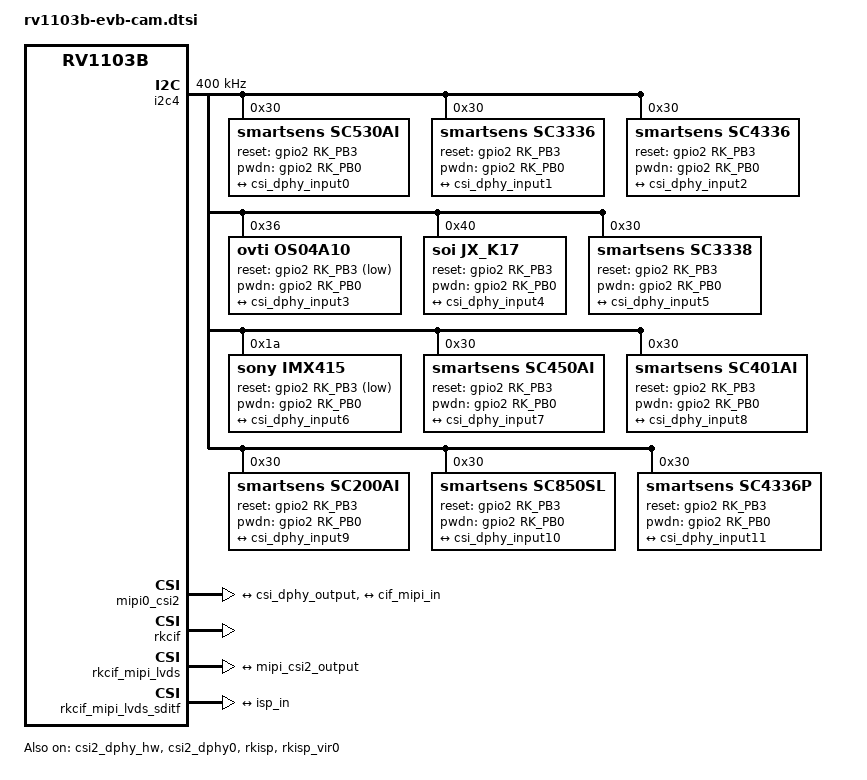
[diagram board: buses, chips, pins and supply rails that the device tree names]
// SPDX-License-Identifier: (GPL-2.0+ OR MIT)
/*
 * Copyright (c) 2026 Rockchip Electronics Co., Ltd.
 *
 */

&csi2_dphy_hw {
	status = "okay";
};

&csi2_dphy0 {
	status = "okay";

	ports {
		#address-cells = <1>;
		#size-cells = <0>;

		port@0 {
			reg = <0>;
			#address-cells = <1>;
			#size-cells = <0>;

			csi_dphy_input0: endpoint@0 {
				reg = <0>;
				remote-endpoint = <&sc530ai_out>;
				data-lanes = <1 2>;
			};
			csi_dphy_input1: endpoint@1 {
				reg = <1>;
				remote-endpoint = <&sc3336_out>;
				data-lanes = <1 2>;
			};
			csi_dphy_input2: endpoint@2 {
				reg = <2>;
				remote-endpoint = <&sc4336_out>;
				data-lanes = <1 2>;
			};
			csi_dphy_input3: endpoint@3 {
				reg = <3>;
				remote-endpoint = <&os04a10_out>;
				data-lanes = <1 2>;
			};
			csi_dphy_input4: endpoint@4 {
				reg = <4>;
				remote-endpoint = <&jx_k17_out>;
				data-lanes = <1 2>;
			};
			csi_dphy_input5: endpoint@5 {
				reg = <5>;
				remote-endpoint = <&sc3338_out>;
				data-lanes = <1 2>;
			};
			csi_dphy_input6: endpoint@6 {
				reg = <6>;
				remote-endpoint = <&imx415_out>;
				data-lanes = <1 2>;
			};
			csi_dphy_input7: endpoint@7 {
				reg = <7>;
				remote-endpoint = <&sc450ai_out>;
				data-lanes = <1 2 3 4>;
			};
			csi_dphy_input8: endpoint@8 {
				reg = <8>;
				remote-endpoint = <&sc401ai_out>;
				data-lanes = <1 2>;
			};
			csi_dphy_input9: endpoint@9 {
				reg = <9>;
				remote-endpoint = <&sc200ai_out>;
				data-lanes = <1 2>;
			};
			csi_dphy_input10: endpoint@a {
				reg = <0xa>;
				remote-endpoint = <&sc850sl_out>;
				data-lanes = <1 2 3 4>;
			};
			csi_dphy_input11: endpoint@b {
				reg = <0xb>;
				remote-endpoint = <&sc4336p_out>;
				data-lanes = <1 2>;
			};
		};

		port@1 {
			reg = <1>;
			#address-cells = <1>;
			#size-cells = <0>;

			csi_dphy_output: endpoint@0 {
				reg = <0>;
				remote-endpoint = <&mipi_csi2_input>;
			};
		};
	};
};

&i2c4 {
	status = "okay";
	clock-frequency = <400000>;
	pinctrl-names = "default";
	pinctrl-0 = <&i2c4m1_xfer_pins>;

	sc530ai: sc530ai@30 {
		compatible = "smartsens,sc530ai";
		status = "okay";
		reg = <0x30>;
		clocks = <&cru CLK_MIPI0_OUT2IO>;
		clock-names = "xvclk";
		reset-gpios = <&gpio2 RK_PB3 GPIO_ACTIVE_HIGH>;
		pwdn-gpios = <&gpio2 RK_PB0 GPIO_ACTIVE_HIGH>;
		pinctrl-names = "default";
		pinctrl-0 = <&cam_clk0_pins>;
		rockchip,camera-module-index = <0>;
		rockchip,camera-module-facing = "back";
		rockchip,camera-module-name = "default";
		rockchip,camera-module-lens-name = "default";
		port {
			sc530ai_out: endpoint {
				remote-endpoint = <&csi_dphy_input0>;
				data-lanes = <1 2>;
			};
		};
	};

	sc3336: sc3336@30 {
		compatible = "smartsens,sc3336";
		status = "okay";
		reg = <0x30>;
		clocks = <&cru CLK_MIPI0_OUT2IO>;
		clock-names = "xvclk";
		reset-gpios = <&gpio2 RK_PB3 GPIO_ACTIVE_HIGH>;
		pwdn-gpios = <&gpio2 RK_PB0 GPIO_ACTIVE_HIGH>;
		pinctrl-names = "default";
		pinctrl-0 = <&cam_clk0_pins>;
		rockchip,camera-module-index = <0>;
		rockchip,camera-module-facing = "back";
		rockchip,camera-module-name = "default";
		rockchip,camera-module-lens-name = "default";
		port {
			sc3336_out: endpoint {
				remote-endpoint = <&csi_dphy_input1>;
				data-lanes = <1 2>;
			};
		};
	};

	sc4336: sc4336@30 {
		compatible = "smartsens,sc4336";
		status = "okay";
		reg = <0x30>;
		clocks = <&cru CLK_MIPI0_OUT2IO>;
		clock-names = "xvclk";
		reset-gpios = <&gpio2 RK_PB3 GPIO_ACTIVE_HIGH>;
		pwdn-gpios = <&gpio2 RK_PB0 GPIO_ACTIVE_HIGH>;
		pinctrl-names = "default";
		pinctrl-0 = <&cam_clk0_pins>;
		rockchip,camera-module-index = <0>;
		rockchip,camera-module-facing = "back";
		rockchip,camera-module-name = "default";
		rockchip,camera-module-lens-name = "default";
		port {
			sc4336_out: endpoint {
				remote-endpoint = <&csi_dphy_input2>;
				data-lanes = <1 2>;
			};
		};
	};

	os04a10: os04a10@36 {
		compatible = "ovti,os04a10";
		status = "okay";
		reg = <0x36>;
		clocks = <&cru CLK_MIPI0_OUT2IO>;
		clock-names = "xvclk";
		reset-gpios = <&gpio2 RK_PB3 GPIO_ACTIVE_LOW>;
		pwdn-gpios = <&gpio2 RK_PB0 GPIO_ACTIVE_HIGH>;
		pinctrl-names = "default";
		pinctrl-0 = <&cam_clk0_pins>;
		rockchip,camera-module-index = <0>;
		rockchip,camera-module-facing = "back";
		rockchip,camera-module-name = "default";
		rockchip,camera-module-lens-name = "default";
		port {
			os04a10_out: endpoint {
				remote-endpoint = <&csi_dphy_input3>;
				data-lanes = <1 2>;
			};
		};
	};

	jx_k17: jx_k17@40 {
		compatible = "soi,jx_k17";
		status = "okay";
		reg = <0x40>;
		clocks = <&cru CLK_MIPI0_OUT2IO>;
		clock-names = "xvclk";
		reset-gpios = <&gpio2 RK_PB3 GPIO_ACTIVE_HIGH>;
		pwdn-gpios = <&gpio2 RK_PB0 GPIO_ACTIVE_HIGH>;
		pinctrl-names = "default";
		pinctrl-0 = <&cam_clk0_pins>;
		rockchip,camera-module-index = <0>;
		rockchip,camera-module-facing = "back";
		rockchip,camera-module-name = "default";
		rockchip,camera-module-lens-name = "default";
		port {
			jx_k17_out: endpoint {
				remote-endpoint = <&csi_dphy_input4>;
				data-lanes = <1 2>;
			};
		};
	};

	sc3338: sc3338@30 {
		compatible = "smartsens,sc3338";
		status = "okay";
		reg = <0x30>;
		clocks = <&cru CLK_MIPI0_OUT2IO>;
		clock-names = "xvclk";
		reset-gpios = <&gpio2 RK_PB3 GPIO_ACTIVE_HIGH>;
		pwdn-gpios = <&gpio2 RK_PB0 GPIO_ACTIVE_HIGH>;
		pinctrl-names = "default";
		pinctrl-0 = <&cam_clk0_pins>;
		rockchip,camera-module-index = <0>;
		rockchip,camera-module-facing = "back";
		rockchip,camera-module-name = "default";
		rockchip,camera-module-lens-name = "default";
		port {
			sc3338_out: endpoint {
				remote-endpoint = <&csi_dphy_input5>;
				data-lanes = <1 2>;
			};
		};
	};

	imx415: imx415@1a {
		compatible = "sony,imx415";
		status = "okay";
		reg = <0x1a>;
		clocks = <&cru CLK_MIPI0_OUT2IO>;
		clock-names = "xvclk";
		reset-gpios = <&gpio2 RK_PB3 GPIO_ACTIVE_LOW>;
		pwdn-gpios = <&gpio2 RK_PB0 GPIO_ACTIVE_HIGH>;
		pinctrl-names = "default";
		pinctrl-0 = <&cam_clk0_pins>;
		rockchip,camera-module-index = <0>;
		rockchip,camera-module-facing = "back";
		rockchip,camera-module-name = "default";
		rockchip,camera-module-lens-name = "default";
		port {
			imx415_out: endpoint {
				remote-endpoint = <&csi_dphy_input6>;
				data-lanes = <1 2>;
			};
		};
	};

	sc450ai: sc450ai@30 {
		compatible = "smartsens,sc450ai";
		status = "okay";
		reg = <0x30>;
		clocks = <&cru CLK_MIPI0_OUT2IO>;
		clock-names = "xvclk";
		reset-gpios = <&gpio2 RK_PB3 GPIO_ACTIVE_HIGH>;
		pwdn-gpios = <&gpio2 RK_PB0 GPIO_ACTIVE_HIGH>;
		pinctrl-names = "default";
		pinctrl-0 = <&cam_clk0_pins>;
		rockchip,camera-module-index = <0>;
		rockchip,camera-module-facing = "back";
		rockchip,camera-module-name = "default";
		rockchip,camera-module-lens-name = "default";
		port {
			sc450ai_out: endpoint {
				remote-endpoint = <&csi_dphy_input7>;
				data-lanes = <1 2 3 4>;
			};
		};
	};

	sc401ai: sc401ai@30 {
		compatible = "smartsens,sc401ai";
		status = "okay";
		reg = <0x30>;
		clocks = <&cru CLK_MIPI0_OUT2IO>;
		clock-names = "xvclk";
		reset-gpios = <&gpio2 RK_PB3 GPIO_ACTIVE_HIGH>;
		pwdn-gpios = <&gpio2 RK_PB0 GPIO_ACTIVE_HIGH>;
		pinctrl-names = "default";
		pinctrl-0 = <&cam_clk0_pins>;
		rockchip,camera-module-index = <0>;
		rockchip,camera-module-facing = "back";
		rockchip,camera-module-name = "default";
		rockchip,camera-module-lens-name = "default";
		port {
			sc401ai_out: endpoint {
				remote-endpoint = <&csi_dphy_input8>;
				data-lanes = <1 2>;
			};
		};
	};

	sc200ai: sc200ai@30 {
		compatible = "smartsens,sc200ai";
		status = "okay";
		reg = <0x30>;
		clocks = <&cru CLK_MIPI0_OUT2IO>;
		clock-names = "xvclk";
		reset-gpios = <&gpio2 RK_PB3 GPIO_ACTIVE_HIGH>;
		pwdn-gpios = <&gpio2 RK_PB0 GPIO_ACTIVE_HIGH>;
		pinctrl-names = "default";
		pinctrl-0 = <&cam_clk0_pins>;
		rockchip,camera-module-index = <0>;
		rockchip,camera-module-facing = "back";
		rockchip,camera-module-name = "default";
		rockchip,camera-module-lens-name = "default";
		port {
			sc200ai_out: endpoint {
				remote-endpoint = <&csi_dphy_input9>;
				data-lanes = <1 2>;
			};
		};
	};

	sc850sl: sc850sl@30 {
		compatible = "smartsens,sc850sl";
		status = "okay";
		reg = <0x30>;
		clocks = <&cru CLK_MIPI0_OUT2IO>;
		clock-names = "xvclk";
		reset-gpios = <&gpio2 RK_PB3 GPIO_ACTIVE_HIGH>;
		pwdn-gpios = <&gpio2 RK_PB0 GPIO_ACTIVE_HIGH>;
		pinctrl-names = "default";
		pinctrl-0 = <&cam_clk0_pins>;
		rockchip,camera-module-index = <0>;
		rockchip,camera-module-facing = "back";
		rockchip,camera-module-name = "default";
		rockchip,camera-module-lens-name = "default";
		port {
			sc850sl_out: endpoint {
				remote-endpoint = <&csi_dphy_input10>;
				data-lanes = <1 2 3 4>;
			};
		};
	};

	sc4336p: sc4336p@30 {
		compatible = "smartsens,sc4336p";
		status = "okay";
		reg = <0x30>;
		clocks = <&cru CLK_MIPI0_OUT2IO>;
		clock-names = "xvclk";
		reset-gpios = <&gpio2 RK_PB3 GPIO_ACTIVE_HIGH>;
		pwdn-gpios = <&gpio2 RK_PB0 GPIO_ACTIVE_HIGH>;
		pinctrl-names = "default";
		pinctrl-0 = <&cam_clk0_pins>;
		rockchip,camera-module-index = <0>;
		rockchip,camera-module-facing = "back";
		rockchip,camera-module-name = "default";
		rockchip,camera-module-lens-name = "default";
		port {
			sc4336p_out: endpoint {
				remote-endpoint = <&csi_dphy_input11>;
				data-lanes = <1 2>;
			};
		};
	};
};

&mipi0_csi2 {
	status = "okay";

	ports {
		#address-cells = <1>;
		#size-cells = <0>;

		port@0 {
			reg = <0>;
			#address-cells = <1>;
			#size-cells = <0>;

			mipi_csi2_input: endpoint@1 {
				reg = <1>;
				remote-endpoint = <&csi_dphy_output>;
			};
		};

		port@1 {
			reg = <1>;
			#address-cells = <1>;
			#size-cells = <0>;

			mipi_csi2_output: endpoint@0 {
				reg = <0>;
				remote-endpoint = <&cif_mipi_in>;
			};
		};
	};
};

&rkcif {
	status = "okay";
};

&rkcif_mipi_lvds {
	status = "okay";

	port {
		/* MIPI CSI-2 endpoint */
		cif_mipi_in: endpoint {
			remote-endpoint = <&mipi_csi2_output>;
		};
	};
};

&rkcif_mipi_lvds_sditf {
	status = "okay";

	port {
		/* MIPI CSI-2 endpoint */
		mipi_lvds_sditf: endpoint {
			remote-endpoint = <&isp_in>;
		};
	};
};

&rkisp {
	status = "okay";
};

&rkisp_vir0 {
	status = "okay";

	port@0 {
		isp_in: endpoint {
			remote-endpoint = <&mipi_lvds_sditf>;
		};
	};
};
